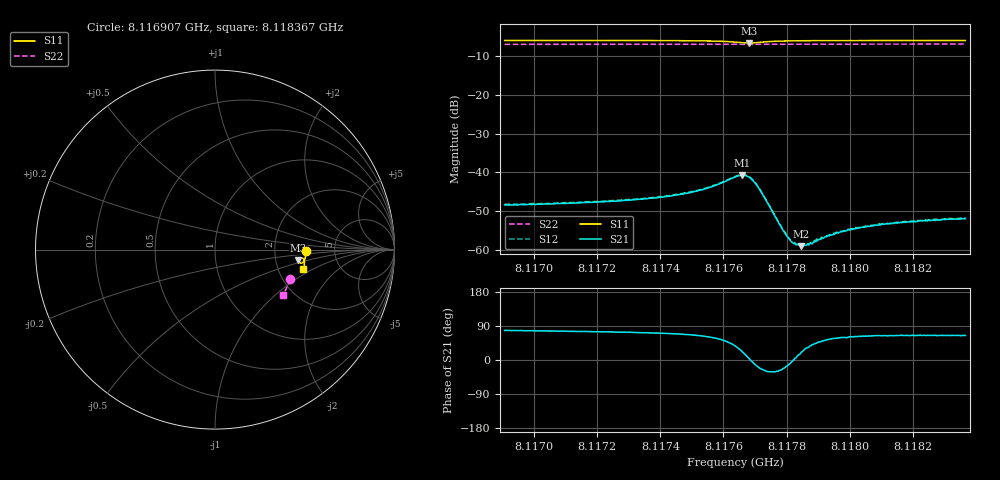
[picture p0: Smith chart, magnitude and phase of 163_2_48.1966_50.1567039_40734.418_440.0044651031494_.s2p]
#  HZ  S  RI  R  50.00
! Rohde & Schwarz Vector Network Analyzer
! Rohde-Schwarz,ZNB20-2Port,1311601062101988,3.16
! Created: UTC 3/20/2024, 11:43:18 AM
! freq[Hz]  re:S11  im:S11  re:S21  im:S21  re:S12  im:S12  re:S22  im:S22
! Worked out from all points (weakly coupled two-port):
!   401 points, 8.116907 GHz to 8.118367 GHz, reference 50 ohm
!   highest |S21| = -40.76 dB at 8.117659 GHz (marker M1); lowest = -59.1 dB at 8.117845 GHz (marker M2)
!   lowest |S11| = -6.6 dB at 8.11768 GHz (marker M3), VSWR 2.76, Z = 135 - j20.2 ohm
!   |S11| at or under -10 dB: nowhere
!   |S22| runs from -6.9 to -6.8 dB; largest |S21 - S12| = 0.00024
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8.1169065e9  0.5062 -0.00977  0.000791 0.00371  0.000833 0.00375  0.4199 -0.1633
8.1171511e9  0.5049 -0.0293  0.00102 0.00391  0.00111 0.00397  0.4141 -0.1793
8.1172606e9  0.504 -0.0381  0.0012 0.00407  0.00126 0.00415  0.4112 -0.1863
8.1173957e9  0.502 -0.0501  0.00155 0.0045  0.00164 0.00454  0.4075 -0.1951
8.1174723e9  0.4999 -0.058  0.00196 0.00486  0.00208 0.00497  0.4053 -0.2001
8.1175344e9  0.4965 -0.0652  0.00268 0.00533  0.0028 0.00543  0.4035 -0.2042
8.1176366e9  0.4765 -0.0754  0.00691 0.0053  0.00709 0.00529  0.3993 -0.2106
8.1176585e9  0.468 -0.0702  0.00844 0.00356  0.00864 0.00355  0.3986 -0.2116
8.1176804e9  0.4648 -0.0586  0.00869 0.000675  0.00885 0.000621  0.3979 -0.2122
8.117695e9  0.4682 -0.0511  0.00764 -0.00106  0.00779 -0.00116  0.3978 -0.2129
8.1177133e9  0.476 -0.0462  0.00573 -0.00214  0.00582 -0.00221  0.3976 -0.2137
8.1177826e9  0.4945 -0.0542  0.00177 -0.000869  0.00182 -0.000891  0.3963 -0.2185
8.1178045e9  0.4964 -0.0579  0.00141 -0.000349  0.00142 -0.000389  0.3957 -0.2199
8.1178228e9  0.4973 -0.0609  0.0012 1.22e-05  0.00123 5.85e-06  0.3952 -0.2212
8.1178447e9  0.4979 -0.0641  0.00106 0.00034  0.00109 0.000343  0.3945 -0.2227
8.1178666e9  0.4982 -0.0667  0.000987 0.000645  0.00101 0.000661  0.3938 -0.2242
8.1178812e9  0.4985 -0.0685  0.000905 0.000773  0.000981 0.000765  0.3933 -0.225
8.1179286e9  0.4985 -0.0738  0.000884 0.00119  0.000904 0.00122  0.3918 -0.228
8.1179944e9  0.4981 -0.0802  0.000904 0.00156  0.000901 0.0016  0.3897 -0.2321
8.1181258e9  0.4965 -0.0917  0.000916 0.00197  0.000985 0.00196  0.3851 -0.2403
8.1182681e9  0.4942 -0.1031  0.00101 0.00217  0.00107 0.00222  0.3801 -0.249
8.1183667e9  0.4927 -0.1108  0.00107 0.00228  0.00113 0.00229  0.3765 -0.2548
